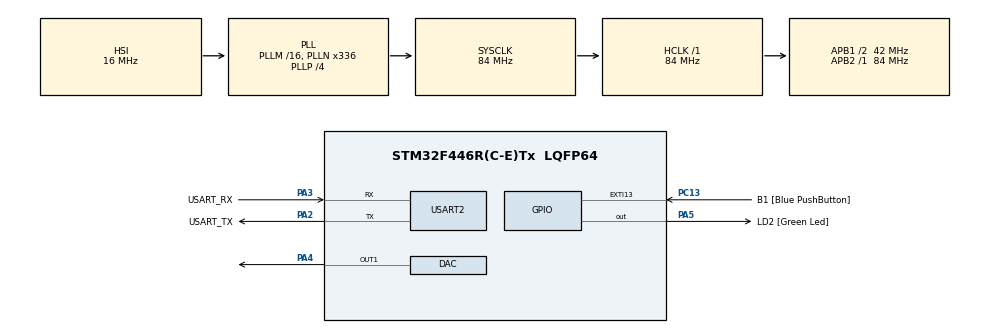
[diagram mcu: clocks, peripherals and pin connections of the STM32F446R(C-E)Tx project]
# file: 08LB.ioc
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Mcu.Family=STM32F4
Mcu.Name=STM32F446R(C-E)Tx
Mcu.Package=LQFP64
NVIC.PriorityGroup=NVIC_PRIORITYGROUP_0
NVIC.TIM7_IRQn=true\:0\:0\:false\:false\:true\:true\:true\:true
NVIC.USART2_IRQn=true\:0\:0\:false\:false\:true\:true\:true\:true
PA13.GPIO_Label=TMS
PA13.Signal=SYS_JTMS-SWDIO
PA14.GPIO_Label=TCK
PA14.Signal=SYS_JTCK-SWCLK
PA2.GPIO_Label=USART_TX
PA2.Mode=Asynchronous
PA2.Signal=USART2_TX
PA3.GPIO_Label=USART_RX
PA3.Mode=Asynchronous
PA3.Signal=USART2_RX
PA4.Signal=COMP_DAC1_group
PA5.GPIO_Label=LD2 [Green Led]
PA5.Signal=GPIO_Output
PB3.GPIO_Label=SWO
PB3.Signal=SYS_JTDO-SWO
PC13.GPIO_Label=B1 [Blue PushButton]
PC13.GPIO_ModeDefaultEXTI=GPIO_MODE_IT_FALLING
PC13.Signal=GPXTI13
PC14-OSC32_IN.Signal=RCC_OSC32_IN
PC15-OSC32_OUT.Signal=RCC_OSC32_OUT
PH0-OSC_IN.Signal=RCC_OSC_IN
PH1-OSC_OUT.Signal=RCC_OSC_OUT
ProjectManager.HeapSize=0x200
ProjectManager.StackSize=0x400
ProjectManager.TargetToolchain=STM32CubeIDE
RCC.AHBFreq_Value=84000000
RCC.APB1CLKDivider=RCC_HCLK_DIV2
RCC.APB1Freq_Value=42000000
RCC.APB1TimFreq_Value=84000000
RCC.APB2Freq_Value=84000000
RCC.APB2TimFreq_Value=84000000
RCC.CortexFreq_Value=84000000
RCC.FLatency-AdvancedSettings=FLASH_LATENCY_2
RCC.HCLKFreq_Value=84000000
RCC.HSE_VALUE=8000000
RCC.HSI_VALUE=16000000
RCC.LSE_VALUE=32768
RCC.PLLN=336
RCC.PLLP=RCC_PLLP_DIV4
RCC.SYSCLKFreq_VALUE=84000000
RCC.SYSCLKSource=RCC_SYSCLKSOURCE_PLLCLK
RCC.USBFreq_Value=168000000
RCC.VCOOutputFreq_Value=336000000
SH.COMP_DAC1_group.0=DAC_OUT1,DAC_OUT1
TIM7.Prescaler=83
USART2.VirtualMode=VM_ASYNC
VP_TIM7_VS_ClockSourceINT.Mode=Enable_Timer
board=NUCLEO-F446RE

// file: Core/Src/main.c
/* USER CODE BEGIN Header */
/**
  ******************************************************************************
  * @file           : main.c
  * @brief          : Main program body
  ******************************************************************************
  * @attention
  *
  * Copyright (c) 2025 STMicroelectronics.
  * All rights reserved.
  *
  * This software is licensed under terms that can be found in the LICENSE file
  * in the root directory of this software component.
  * If no LICENSE file comes with this software, it is provided AS-IS.
  *
  ******************************************************************************
  */
/* USER CODE END Header */
#include "main.h"

/* USER CODE BEGIN Includes */
#include<math.h>
#include<stdio.h>
#include<string.h>

void GenSin(void);

/* USER CODE END Includes */

DAC_HandleTypeDef hdac;

TIM_HandleTypeDef htim7;

UART_HandleTypeDef huart2;

/* USER CODE BEGIN PV */

uint16_t ui16DACBuffer[30];
uint8_t  ui8Iindex = 0;

uint16_t ui16MyARR = 1;
uint8_t  uiNewPrint=1;
char     chTxBuffer[100];
uint8_t  ui8Rx;

uint16_t ui16Ampl = 2000;

/* USER CODE END PV */

void SystemClock_Config(void);
static void MX_GPIO_Init(void);
static void MX_DAC_Init(void);
static void MX_TIM7_Init(void);
static void MX_USART2_UART_Init(void);

int main(void)
{

  /* MCU Configuration--------------------------------------------------------*/

  /* Reset of all peripherals, Initializes the Flash interface and the Systick. */
  HAL_Init();

  /* Configure the system clock */
  SystemClock_Config();

  /* Initialize all configured peripherals */
  MX_GPIO_Init();
  MX_DAC_Init();
  MX_TIM7_Init();
  MX_USART2_UART_Init();
  /* USER CODE BEGIN 2 */

  HAL_TIM_Base_Start_IT(&htim7);
  HAL_DAC_Start(&hdac, DAC_CHANNEL_1);
  HAL_UART_Receive_IT(&huart2, &ui8Rx, 1);
  TIM7->ARR = ui16MyARR;
  //uint16_t ui16DAC = 0;

//  uint8_t ui8Index;
//  double dTemp;
//  for(ui8Index=0; ui8Index<20; ui8Index++)
//  {
//	  dTemp = 2*3.1415;
//	  dTemp *= ui8Index;
//	  dTemp /= 20;
//	  dTemp = sin(dTemp);
//	  dTemp += 1;
//	  dTemp *= (4095/2);
//	  ui16DACBuffer[ui8Index] = (uint16_t)dTemp;
//  }
  GenSin();

  /* USER CODE END 2 */

  /* Infinite loop */
  /* USER CODE BEGIN WHILE */
  while (1)
  {
	  //if(ui16DAC < 4095)ui16DAC ++;
	  //else ui16DAC = 0;
	  //HAL_DAC_SetValue(&hdac, DAC_CHANNEL_1, DAC_ALIGN_12B_R, ui16DAC);

	  //for(ui8Index=0;ui8Index<20;ui8Index++)
	  //{
	//	  HAL_DAC_SetValue(&hdac, DAC_CHANNEL_1, DAC_ALIGN_12B_R, ui16DACBuffer[ui8Index]);
	  //}

	  if(uiNewPrint)
	  {
		  uiNewPrint = 0;
		  sprintf(chTxBuffer,"ARR=%d, ui16Ampl=%d\r\n",ui16MyARR,ui16Ampl);
		  HAL_UART_Transmit(&huart2, (uint8_t*)chTxBuffer, strlen(chTxBuffer), 100);
	  }

    /* USER CODE END WHILE */

  }
}

void SystemClock_Config(void)
{
  RCC_OscInitTypeDef RCC_OscInitStruct = {0};
  RCC_ClkInitTypeDef RCC_ClkInitStruct = {0};

  /** Configure the main internal regulator output voltage
  */
  __HAL_RCC_PWR_CLK_ENABLE();
  __HAL_PWR_VOLTAGESCALING_CONFIG(PWR_REGULATOR_VOLTAGE_SCALE3);

  /** Initializes the RCC Oscillators according to the specified parameters
  * in the RCC_OscInitTypeDef structure.
  */
  RCC_OscInitStruct.OscillatorType = RCC_OSCILLATORTYPE_HSI;
  RCC_OscInitStruct.HSIState = RCC_HSI_ON;
  RCC_OscInitStruct.HSICalibrationValue = RCC_HSICALIBRATION_DEFAULT;
  RCC_OscInitStruct.PLL.PLLState = RCC_PLL_ON;
  RCC_OscInitStruct.PLL.PLLSource = RCC_PLLSOURCE_HSI;
  RCC_OscInitStruct.PLL.PLLM = 16;
  RCC_OscInitStruct.PLL.PLLN = 336;
  RCC_OscInitStruct.PLL.PLLP = RCC_PLLP_DIV4;
  RCC_OscInitStruct.PLL.PLLQ = 2;
  RCC_OscInitStruct.PLL.PLLR = 2;
  if (HAL_RCC_OscConfig(&RCC_OscInitStruct) != HAL_OK)
  {
    Error_Handler();
  }

  /** Initializes the CPU, AHB and APB buses clocks
  */
  RCC_ClkInitStruct.ClockType = RCC_CLOCKTYPE_HCLK|RCC_CLOCKTYPE_SYSCLK
                              |RCC_CLOCKTYPE_PCLK1|RCC_CLOCKTYPE_PCLK2;
  RCC_ClkInitStruct.SYSCLKSource = RCC_SYSCLKSOURCE_PLLCLK;
  RCC_ClkInitStruct.AHBCLKDivider = RCC_SYSCLK_DIV1;
  RCC_ClkInitStruct.APB1CLKDivider = RCC_HCLK_DIV2;
  RCC_ClkInitStruct.APB2CLKDivider = RCC_HCLK_DIV1;

  if (HAL_RCC_ClockConfig(&RCC_ClkInitStruct, FLASH_LATENCY_2) != HAL_OK)
  {
    Error_Handler();
  }
}

static void MX_DAC_Init(void)
{

  DAC_ChannelConfTypeDef sConfig = {0};

  /** DAC Initialization
  */
  hdac.Instance = DAC;
  if (HAL_DAC_Init(&hdac) != HAL_OK)
  {
    Error_Handler();
  }

  /** DAC channel OUT1 config
  */
  sConfig.DAC_Trigger = DAC_TRIGGER_NONE;
  sConfig.DAC_OutputBuffer = DAC_OUTPUTBUFFER_ENABLE;
  if (HAL_DAC_ConfigChannel(&hdac, &sConfig, DAC_CHANNEL_1) != HAL_OK)
  {
    Error_Handler();
  }

}

static void MX_TIM7_Init(void)
{

  TIM_MasterConfigTypeDef sMasterConfig = {0};

  htim7.Instance = TIM7;
  htim7.Init.Prescaler = 83;
  htim7.Init.CounterMode = TIM_COUNTERMODE_UP;
  htim7.Init.Period = 1;
  htim7.Init.AutoReloadPreload = TIM_AUTORELOAD_PRELOAD_DISABLE;
  if (HAL_TIM_Base_Init(&htim7) != HAL_OK)
  {
    Error_Handler();
  }
  sMasterConfig.MasterOutputTrigger = TIM_TRGO_RESET;
  sMasterConfig.MasterSlaveMode = TIM_MASTERSLAVEMODE_DISABLE;
  if (HAL_TIMEx_MasterConfigSynchronization(&htim7, &sMasterConfig) != HAL_OK)
  {
    Error_Handler();
  }

}

static void MX_USART2_UART_Init(void)
{

  huart2.Instance = USART2;
  huart2.Init.BaudRate = 115200;
  huart2.Init.WordLength = UART_WORDLENGTH_8B;
  huart2.Init.StopBits = UART_STOPBITS_1;
  huart2.Init.Parity = UART_PARITY_NONE;
  huart2.Init.Mode = UART_MODE_TX_RX;
  huart2.Init.HwFlowCtl = UART_HWCONTROL_NONE;
  huart2.Init.OverSampling = UART_OVERSAMPLING_16;
  if (HAL_UART_Init(&huart2) != HAL_OK)
  {
    Error_Handler();
  }

}

static void MX_GPIO_Init(void)
{
  GPIO_InitTypeDef GPIO_InitStruct = {0};

  /* GPIO Ports Clock Enable */
  __HAL_RCC_GPIOC_CLK_ENABLE();
  __HAL_RCC_GPIOH_CLK_ENABLE();
  __HAL_RCC_GPIOA_CLK_ENABLE();
  __HAL_RCC_GPIOB_CLK_ENABLE();

  /*Configure GPIO pin Output Level */
  HAL_GPIO_WritePin(LD2_GPIO_Port, LD2_Pin, GPIO_PIN_RESET);

  /*Configure GPIO pin : B1_Pin */
  GPIO_InitStruct.Pin = B1_Pin;
  GPIO_InitStruct.Mode = GPIO_MODE_IT_FALLING;
  GPIO_InitStruct.Pull = GPIO_NOPULL;
  HAL_GPIO_Init(B1_GPIO_Port, &GPIO_InitStruct);

  /*Configure GPIO pin : LD2_Pin */
  GPIO_InitStruct.Pin = LD2_Pin;
  GPIO_InitStruct.Mode = GPIO_MODE_OUTPUT_PP;
  GPIO_InitStruct.Pull = GPIO_NOPULL;
  GPIO_InitStruct.Speed = GPIO_SPEED_FREQ_LOW;
  HAL_GPIO_Init(LD2_GPIO_Port, &GPIO_InitStruct);

}

/* USER CODE BEGIN 4 */
void HAL_TIM_PeriodElapsedCallback(TIM_HandleTypeDef *htim)
{
  /* Prevent unused argument(s) compilation warning */
  //UNUSED(htim);

  /* NOTE : This function should not be modified, when the callback is needed,
            the HAL_TIM_PeriodElapsedCallback could be implemented in the user file
   */

	if(ui8Iindex < 19) ui8Iindex ++;
	else ui8Iindex = 0;
	HAL_DAC_SetValue(&hdac, DAC_CHANNEL_1, DAC_ALIGN_12B_R, ui16DACBuffer[ui8Iindex]);
}

void HAL_UART_RxCpltCallback(UART_HandleTypeDef *huart)
{
  /* Prevent unused argument(s) compilation warning */
  //UNUSED(huart);
  /* NOTE: This function should not be modified, when the callback is needed,
           the HAL_UART_RxCpltCallback could be implemented in the user file
   */

	if(ui8Rx == 'q')
	{
		if(ui16MyARR > 1)
		{
			ui16MyARR --;
			TIM7->ARR = ui16MyARR;
			uiNewPrint = 1;
		}
	}
	if(ui8Rx == 'a')
	{
		if(ui16MyARR < 2000)
		{
			ui16MyARR ++;
			TIM7->ARR = ui16MyARR;
			uiNewPrint = 1;
		}
	}
	if(ui8Rx == 'w')
	{
		if(ui16Ampl < 4000)
		{
			ui16Ampl +=70;
			GenSin();
			uiNewPrint = 1;
		}
	}
	if(ui8Rx == 's')
	{
		if(ui16Ampl > 70)
		{
			ui16Ampl -=70;
			GenSin();
			uiNewPrint = 1;
		}
	}

	HAL_UART_Receive_IT(&huart2, &ui8Rx, 1);
}

void GenSin(void)
{
  uint8_t ui8Index;
  double dTemp;
  for(ui8Index=0; ui8Index<20; ui8Index++)
  {
	  dTemp = 2*3.1415;
	  dTemp *= ui8Index;
	  dTemp /= 20;
	  dTemp = sin(dTemp);
	  dTemp += 1;
	  dTemp *= (ui16Ampl/2);
	  ui16DACBuffer[ui8Index] = (uint16_t)dTemp;
  }
}

/* USER CODE END 4 */

void Error_Handler(void)
{
  __disable_irq();
  while (1)
  {
  }
}
